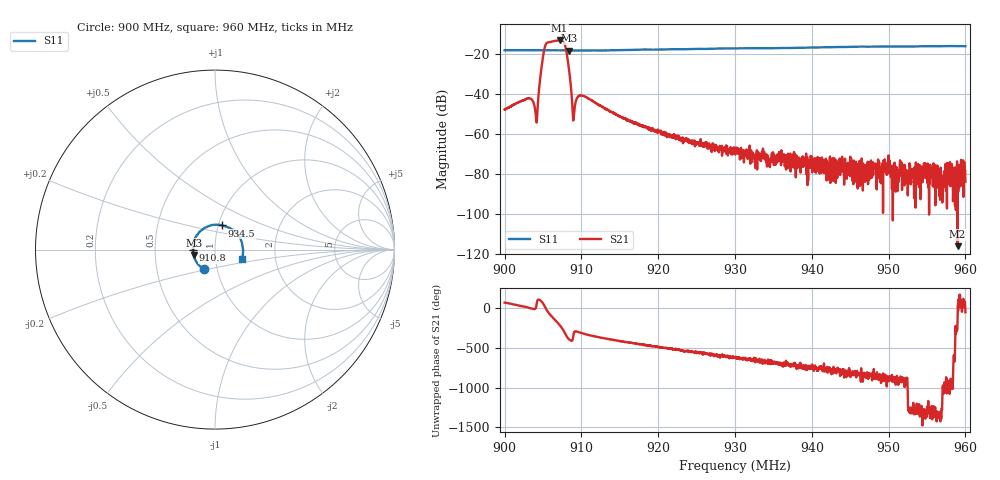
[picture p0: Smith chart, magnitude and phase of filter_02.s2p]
!Agilent Technologies,E5071C,MY46214392,A.11.36
!Date: Thu Feb 26 21:12:01 2026
!Data & Calibration Information:
!Freq	S11:NONE(--)	S21:NONE(--)	S12:NONE(--)	S22:NONE(--)
!PortZ  Port1:50+j0  Port2:50+j0
!Above PortZ is port z conversion or system Z0 setting when saving the data.
!When reading, reference impedance value at option line is always used.
# Hz S dB R 50
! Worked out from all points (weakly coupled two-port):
!   1601 points, 900 MHz to 960 MHz, reference 50 ohm
!   highest |S21| = -13.20 dB at 907.2 MHz (marker M1); lowest = -116.0 dB at 959 MHz (marker M2)
!   lowest |S11| = -18.2 dB at 908.4 MHz (marker M3), VSWR 1.28, Z = 39.3 - j2.33 ohm
!   |S11| at or under -10 dB: start of sweep to end of sweep
!   S12 and S22 are empty: the file has one direction only
!   S11 on the Smith chart (normalised r, x): 900 MHz: 0.86, -0.19; 910.8 MHz: 0.78, -0.00; 934.5 MHz: 1.04, +0.28; 960 MHz: 1.34, -0.14
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9e8  -18.11 -120.4  -47.65 69.6  -200.00 0.0  -200.00 0.0
9.0315e8  -18.07 -137.6  -42.12 3.5  -200.00 0.0  -200.00 0.0
9.040875e8  -18.09 -142.9  -51.80 8.1  -200.00 0.0  -200.00 0.0
9.0435e8  -18.11 -144.3  -43.71 106.3  -200.00 0.0  -200.00 0.0
9.0495e8  -18.12 -147.6  -22.64 66.8  -200.00 0.0  -200.00 0.0
9.05325e8  -18.12 -149.5  -15.45 3.3  -200.00 0.0  -200.00 0.0
9.061125e8  -18.15 -154.0  -13.79 -102.4  -200.00 0.0  -200.00 0.0
9.071625e8  -18.17 -159.4  -13.20 147.3  -200.00 0.0  -200.00 0.0
9.078375e8  -18.14 -163.4  -15.21 47.4  -200.00 0.0  -200.00 0.0
9.084e8  -18.24 -166.2  -28.16 -34.2  -200.00 0.0  -200.00 0.0
9.087375e8  -18.23 -167.9  -41.05 -50.8  -200.00 0.0  -200.00 0.0
9.09e8  -18.23 -169.1  -51.62 41.4  -200.00 0.0  -200.00 0.0
9.100125e8  -18.21 -174.4  -40.65 46.6  -200.00 0.0  -200.00 0.0
9.108375e8  -18.15 -178.6  -41.97 23.8  -200.00 0.0  -200.00 0.0
9.20025e8  -17.76 136.3  -58.50 -131.2  -200.00 0.0  -200.00 0.0
9.3e8  -17.17 92.1  -66.93 105.9  -200.00 0.0  -200.00 0.0
9.344625e8  -17.10 74.2  -72.53 55.2  -200.00 0.0  -200.00 0.0
9.400125e8  -16.73 54.2  -71.24 -39.2  -200.00 0.0  -200.00 0.0
9.468375e8  -16.28 29.0  -78.37 -105.7  -200.00 0.0  -200.00 0.0
9.50025e8  -16.21 17.4  -74.56 166.9  -200.00 0.0  -200.00 0.0
9.589875e8  -16.03 -15.7  -115.96 -128.6  -200.00 0.0  -200.00 0.0
9.6e8  -16.06 -19.6  -83.88 -52.6  -200.00 0.0  -200.00 0.0
